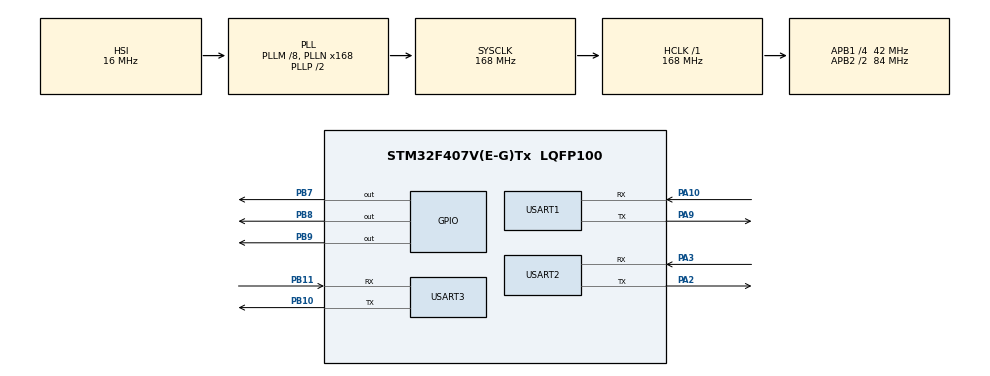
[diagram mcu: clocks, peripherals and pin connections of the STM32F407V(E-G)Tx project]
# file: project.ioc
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Mcu.Family=STM32F4
Mcu.Name=STM32F407V(E-G)Tx
Mcu.Package=LQFP100
NVIC.PriorityGroup=NVIC_PRIORITYGROUP_4
NVIC.USART1_IRQn=true\:0\:0\:false\:false\:true\:true\:true\:true
NVIC.USART2_IRQn=true\:0\:0\:false\:false\:true\:true\:true\:true
NVIC.USART3_IRQn=true\:0\:0\:false\:false\:true\:true\:true\:true
PA10.Mode=Asynchronous
PA10.Signal=USART1_RX
PA13.Mode=Serial_Wire
PA13.Signal=SYS_JTMS-SWDIO
PA14.Mode=Serial_Wire
PA14.Signal=SYS_JTCK-SWCLK
PA2.Mode=Asynchronous
PA2.Signal=USART2_TX
PA3.Mode=Asynchronous
PA3.Signal=USART2_RX
PA9.Mode=Asynchronous
PA9.Signal=USART1_TX
PB10.Mode=Asynchronous
PB10.Signal=USART3_TX
PB11.Mode=Asynchronous
PB11.Signal=USART3_RX
PB7.GPIO_PuPd=GPIO_PULLUP
PB7.GPIO_Speed=GPIO_SPEED_FREQ_HIGH
PB7.Signal=GPIO_Output
PB8.GPIO_PuPd=GPIO_PULLUP
PB8.GPIO_Speed=GPIO_SPEED_FREQ_HIGH
PB8.Signal=GPIO_Output
PB9.GPIO_PuPd=GPIO_PULLUP
PB9.GPIO_Speed=GPIO_SPEED_FREQ_HIGH
PB9.Signal=GPIO_Output
PH0-OSC_IN.Mode=HSE-External-Oscillator
PH0-OSC_IN.Signal=RCC_OSC_IN
PH1-OSC_OUT.Mode=HSE-External-Oscillator
PH1-OSC_OUT.Signal=RCC_OSC_OUT
ProjectManager.HeapSize=0x200
ProjectManager.StackSize=0x400
ProjectManager.TargetToolchain=MDK-ARM V5.32
RCC.48MHZClocksFreq_Value=84000000
RCC.AHBFreq_Value=168000000
RCC.APB1CLKDivider=RCC_HCLK_DIV4
RCC.APB1Freq_Value=42000000
RCC.APB1TimFreq_Value=84000000
RCC.APB2CLKDivider=RCC_HCLK_DIV2
RCC.APB2Freq_Value=84000000
RCC.APB2TimFreq_Value=168000000
RCC.CortexFreq_Value=168000000
RCC.HCLKFreq_Value=168000000
RCC.HSE_VALUE=25000000
RCC.HSI_VALUE=16000000
RCC.LSE_VALUE=32768
RCC.PLLM=8
RCC.PLLN=168
RCC.SYSCLKFreq_VALUE=168000000
RCC.SYSCLKSource=RCC_SYSCLKSOURCE_PLLCLK
RCC.VCOOutputFreq_Value=336000000
USART1.VirtualMode=VM_ASYNC
USART2.VirtualMode=VM_ASYNC
USART3.VirtualMode=VM_ASYNC
board=custom

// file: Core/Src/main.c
/* USER CODE BEGIN Header */
/**
  ******************************************************************************
  * @file           : main.c
  * @brief          : Main program body
  ******************************************************************************
  * @attention
  *
  * Copyright (c) 2023 STMicroelectronics.
  * All rights reserved.
  *
  * This software is licensed under terms that can be found in the LICENSE file
  * in the root directory of this software component.
  * If no LICENSE file comes with this software, it is provided AS-IS.
  *
  ******************************************************************************
  */
/* USER CODE END Header */
#include "main.h"
#include "usart.h"
#include "gpio.h"

/* USER CODE BEGIN Includes */
#include "stdio.h"
/* USER CODE END Includes */

void SystemClock_Config(void);

/* USER CODE BEGIN 0 */

uint8_t rx_buff_u1[rx_max_buff_u1];
uint8_t rx_buff_u2[rx_max_buff_u2];
uint8_t send_buff_u3[send_max_buff_u3];//串口3

/* USER CODE END 0 */

int main(void)
{

  /* MCU Configuration--------------------------------------------------------*/

  /* Reset of all peripherals, Initializes the Flash interface and the Systick. */
  HAL_Init();

  /* Configure the system clock */
  SystemClock_Config();

  /* Initialize all configured peripherals */
  MX_GPIO_Init();
  MX_USART1_UART_Init();
  MX_USART2_UART_Init();
  MX_USART3_UART_Init();

  /* Infinite loop */
  while (1)
  {

    /* USER CODE BEGIN 3 */

	  HAL_GPIO_WritePin(GPIOB, GPIO_PIN_7|GPIO_PIN_8|GPIO_PIN_9, GPIO_PIN_RESET);

	  HAL_UART_Transmit(&huart3, send_buff_u3, send_max_buff_u3, 100);

	  printf("working\r\n");
	  HAL_Delay(1000);
  }
  /* USER CODE END 3 */
}

void SystemClock_Config(void)
{
  RCC_OscInitTypeDef RCC_OscInitStruct = {0};
  RCC_ClkInitTypeDef RCC_ClkInitStruct = {0};

  /** Configure the main internal regulator output voltage
  */
  __HAL_RCC_PWR_CLK_ENABLE();
  __HAL_PWR_VOLTAGESCALING_CONFIG(PWR_REGULATOR_VOLTAGE_SCALE1);

  /** Initializes the RCC Oscillators according to the specified parameters
  * in the RCC_OscInitTypeDef structure.
  */
  RCC_OscInitStruct.OscillatorType = RCC_OSCILLATORTYPE_HSI;
  RCC_OscInitStruct.HSIState = RCC_HSI_ON;
  RCC_OscInitStruct.HSICalibrationValue = RCC_HSICALIBRATION_DEFAULT;
  RCC_OscInitStruct.PLL.PLLState = RCC_PLL_ON;
  RCC_OscInitStruct.PLL.PLLSource = RCC_PLLSOURCE_HSI;
  RCC_OscInitStruct.PLL.PLLM = 8;
  RCC_OscInitStruct.PLL.PLLN = 168;
  RCC_OscInitStruct.PLL.PLLP = RCC_PLLP_DIV2;
  RCC_OscInitStruct.PLL.PLLQ = 4;
  if (HAL_RCC_OscConfig(&RCC_OscInitStruct) != HAL_OK)
  {
    Error_Handler();
  }

  /** Initializes the CPU, AHB and APB buses clocks
  */
  RCC_ClkInitStruct.ClockType = RCC_CLOCKTYPE_HCLK|RCC_CLOCKTYPE_SYSCLK
                              |RCC_CLOCKTYPE_PCLK1|RCC_CLOCKTYPE_PCLK2;
  RCC_ClkInitStruct.SYSCLKSource = RCC_SYSCLKSOURCE_PLLCLK;
  RCC_ClkInitStruct.AHBCLKDivider = RCC_SYSCLK_DIV1;
  RCC_ClkInitStruct.APB1CLKDivider = RCC_HCLK_DIV4;
  RCC_ClkInitStruct.APB2CLKDivider = RCC_HCLK_DIV2;

  if (HAL_RCC_ClockConfig(&RCC_ClkInitStruct, FLASH_LATENCY_5) != HAL_OK)
  {
    Error_Handler();
  }
}

/* USER CODE BEGIN 4 */

int fputc(int ch, FILE *f){
 uint8_t temp[1] = {ch};
 HAL_UART_Transmit(&huart1, temp, 1, 0xffff);
return ch;
}

void HAL_UART_RxCpltCallback(UART_HandleTypeDef *huart)
{

	if(huart->Instance==USART1)
	{
		HAL_UART_Receive_IT(&huart1, rx_buff_u1, rx_max_buff_u1);
		printf("Instance_USART1\r\n");
		printf("send_data_u1:\r\n");
		for(int i=0;i<rx_max_buff_u1;i++)
		{
			printf("%c", rx_buff_u1[i]);
		}
		printf("\r\n");

	}
	else if(huart->Instance==USART2)
	{
		HAL_UART_Receive_IT(&huart2, rx_buff_u2, rx_max_buff_u2);
		printf("Instance_USART2\r\n");
	}

	else if(huart->Instance==USART3)
	{
		printf("Instance_USART3\r\n");
	}

}

/* USER CODE END 4 */

void Error_Handler(void)
{
  __disable_irq();
  while (1)
  {
  }
}
